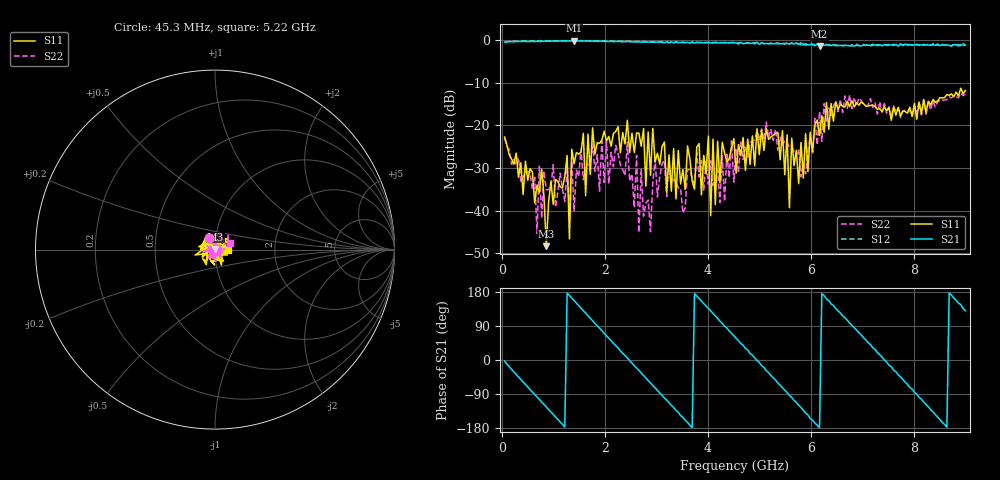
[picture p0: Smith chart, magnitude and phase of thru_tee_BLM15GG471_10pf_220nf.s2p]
!Agilent Technologies,E8358A,US40210021,A.06.04.30
!Agilent E8358A: A.06.04.30
!Date: Sunday, April 15, 2018 12:16:27
!Correction: S11(Full 2 Port(1,2)) S21(Full 2 Port(1,2)) S12(Full 2 Port(1,2)) S22(Full 2 Port(1,2))
!S2P File: Measurements: S11, S21, S12, S22:
# Hz S  RI  R 50
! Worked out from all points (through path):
!   200 points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, 45.3 MHz to 9 GHz, reference 50 ohm
!   highest |S21| = -0.18 dB at 1.395 GHz (marker M1); lowest = -1.4 dB at 6.165 GHz (marker M2)
!   group delay of S21, straight-line fit = 404 ps
!   lowest |S11| = -48.3 dB at 855.3 MHz (marker M3), VSWR 1.01, Z = 50.2 + j0.311 ohm
!   |S11| at or under -10 dB: start of sweep to end of sweep
!   |S22| runs from -45.4 to -12.5 dB; largest |S21 - S12| = 0.067
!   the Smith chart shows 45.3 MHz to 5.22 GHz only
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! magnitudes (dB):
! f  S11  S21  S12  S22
! 45.3 MHz  -22.7  -0.5  -0.4  -23.0
! 765.3 MHz  -30.2  -0.3  -0.2  -41.7
! 855.3 MHz  -48.3  -0.3  -0.2  -35.1
! 1.26 GHz  -27.1  -0.2  -0.1  -30.1
! 1.305 GHz  -46.6  -0.2  -0.1  -39.8
! 1.35 GHz  -25.6  -0.2  -0.1  -28.3
! 1.395 GHz  -29.0  -0.2  -0.1  -40.1
! 1.575 GHz  -21.9  -0.2  -0.1  -32.7
! 1.62 GHz  -36.5  -0.2  -0.2  -29.4
! 1.755 GHz  -20.6  -0.3  -0.1  -24.4
! 2.43 GHz  -18.8  -0.3  -0.2  -23.9
! 2.565 GHz  -26.4  -0.4  -0.3  -39.2
! 2.61 GHz  -21.8  -0.5  -0.3  -27.1
! 2.655 GHz  -21.8  -0.4  -0.3  -45.1
! 2.7 GHz  -24.9  -0.5  -0.4  -30.4
! 2.88 GHz  -31.7  -0.5  -0.4  -44.9
! 3.06 GHz  -29.1  -0.5  -0.4  -31.9
! 4.545 GHz  -31.2  -0.7  -0.7  -25.4
! 6.03 GHz  -26.2  -1.1  -0.9  -26.5
! 6.165 GHz  -22.4  -1.4  -0.9  -16.8
! 7.515 GHz  -15.8  -1.2  -1.0  -15.7
! 9 GHz  -11.8  -1.2  -1.1  -12.6
